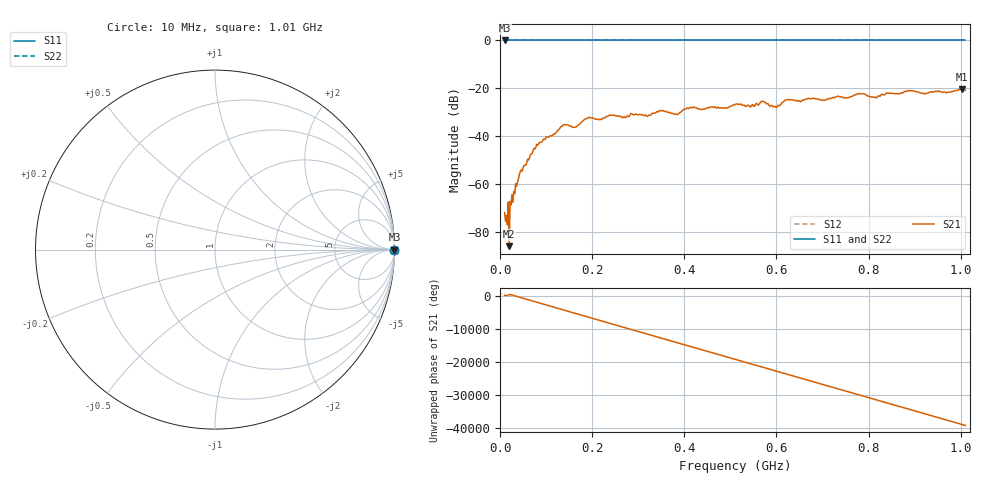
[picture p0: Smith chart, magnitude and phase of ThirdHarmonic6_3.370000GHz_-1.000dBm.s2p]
! 8/17/2025 10:41:16 AM
! C:\ANRITSUVNA\TEMP\TEMP.S2P
! CHANNEL.1
! TR.MEASUREMENT
! RAW.DATA
! RF.CORRECTION.OFF
! AVERAGING.OFF
! IF.BANDWIDTH: 5KHZ
! SWEEPTYPE:  FREQ.SWEEP(Linear)
! Reference Plane Port Info
! PORT:  PORT1  PORT2
! DISTANCE:  0  m  0  m
! TIME:  0  s  0  s
! PHASE.OFFSET:  0  deg.  0  deg.
! LOSS:  0  dB  0  dB
! REF.LOSS:  0  dB  0  dB
! REF.FREQ:  0  Hz  0  Hz
! Power Info
! POWER:  -20  dBm  -20  dBm
! EFF.POWER:  -20  dBm  -20  dBm
! SOURCE.ATTEN:  0  dB  0  dB
! TEST.ATTEN:  0  dB  0  dB
# GHZ S RI R 50.0
! FREQ.GHZ  S11RE  S11IM  S21RE  S21IM  S12RE  S12IM  S22RE  S22IM
!; PortSelection: Port_12
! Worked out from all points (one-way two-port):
!   501 points, 10 MHz to 1.01 GHz, reference 50 ohm
!   highest |S21| = -20.23 dB at 1.002 GHz (marker M1); lowest = -86.0 dB at 20 MHz (marker M2)
!   lowest |S11| = 0.0 dB at 10 MHz (marker M3)
!   |S11| at or under -10 dB: nowhere
!   |S22| runs from 0.0 to 0.0 dB; largest |S21 - S12| = 1.1
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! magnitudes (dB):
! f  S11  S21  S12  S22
! 10 MHz  0.0  -72.0  0.0  0.0
! 16 MHz  0.0  -77.1  0.0  0.0
! 20 MHz  0.0  -86.0  0.0  0.0
! 24 MHz  0.0  -68.8  0.0  0.0
! 26 MHz  0.0  -64.4  0.0  0.0
! 42 MHz  0.0  -56.0  0.0  0.0
! 76 MHz  0.0  -45.3  0.0  0.0
! 136 MHz  0.0  -35.7  0.0  0.0
! 162 MHz  0.0  -36.3  0.0  0.0
! 178 MHz  0.0  -33.9  0.0  0.0
! 344 MHz  0.0  -29.8  0.0  0.0
! 382 MHz  0.0  -30.8  0.0  0.0
! 416 MHz  0.0  -28.2  0.0  0.0
! 510 MHz  0.0  -26.8  0.0  0.0
! 570 MHz  0.0  -25.5  0.0  0.0
! 596 MHz  0.0  -27.5  0.0  0.0
! 622 MHz  0.0  -24.8  0.0  0.0
! 678 MHz  0.0  -24.3  0.0  0.0
! 814 MHz  0.0  -23.7  0.0  0.0
! 844 MHz  0.0  -22.2  0.0  0.0
! 1.002 GHz  0.0  -20.2  0.0  0.0
! 1.01 GHz  0.0  -20.9  0.0  0.0
